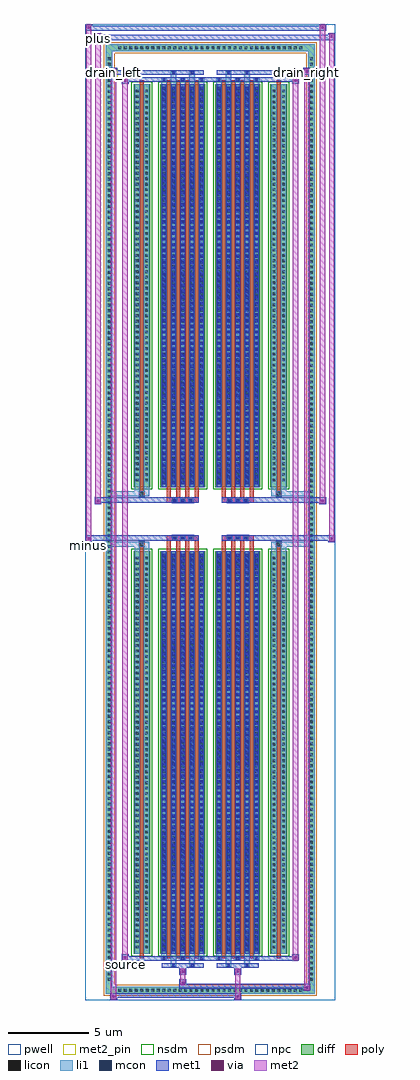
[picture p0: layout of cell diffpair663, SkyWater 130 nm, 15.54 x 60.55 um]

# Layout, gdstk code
import gdstk
lib = gdstk.Library(unit=1e-6, precision=5e-09)
def R(c, l, rs):  # rectangles x0, y0, x1, y1
    for r in rs: c.add(gdstk.rectangle(r[:2], r[2:], *l))
def A(c, l, x, y, w, h, nx, ny, dx, dy):  # array of equal rectangles
    R(c, l, [(x+i*dx, y+j*dy, x+i*dx+w, y+j*dy+h) for i in range(nx) for j in range(ny)])
def P(c, l, *ps):  # polygons
    for p in ps: c.add(gdstk.Polygon(p, *l))
pwell = (64, 44)
diff = (65, 20)
poly = (66, 20)
licon = (66, 44)
li1 = (67, 20)
mcon = (67, 44)
met1 = (68, 20)
via = (68, 44)
met2_pin = (69, 16)
met2 = (69, 20)
nsdm = (93, 44)
psdm = (94, 20)
npc = (95, 20)

diffpair663 = lib.new_cell('diffpair663')
R(diffpair663, pwell, [(-7.75,-29.84,7.75,30.71), (-5.07,-28.03,-0.01,-0.805), (0.01,-28.03,5.07,-0.805), (-5.07,0.805,-0.01,28.03), (0.01,0.805,5.07,28.03)])
A(diffpair663, diff, -5.815, -29.44, 0.41, 0.41, 34, 2, 0.34, 58.47)
A(diffpair663, diff, -6.48, -28.765, 0.41, 0.41, 1, 169, 0, 0.34)
A(diffpair663, diff, 6.07, -28.765, 0.41, 0.41, 1, 169, 0, 0.34)
R(diffpair663, diff, [(-5.815,-29.44,5.815,-29.03), (-6.48,-28.765,-6.07,28.765), (6.07,-28.765,6.48,28.765), (-4.76,-26.985,-3.73,-1.985), (-3.09,-26.985,-0.32,-1.985), (0.32,-26.985,3.09,-1.985), (3.73,-26.985,4.76,-1.985), (-4.76,1.985,-3.73,26.985), (-3.09,1.985,-0.32,26.985), (0.32,1.985,3.09,26.985), (3.73,1.985,4.76,26.985), (-5.815,29.03,5.815,29.44)])
P(diffpair663, diff, [(6.48,29.44),(-6.48,29.44),(-6.48,-29.03),(-6.07,-29.03),(-6.07,29.03),(6.07,29.03),(6.07,-29.03),(-6.07,-29.03),(-6.48,-29.03),(-6.48,-29.44),(6.48,-29.44)])
A(diffpair663, poly, -2.7, -27.235, 0.25, 25.5, 4, 2, 0.58, 28.97)
A(diffpair663, poly, 0.71, -27.235, 0.25, 25.5, 4, 2, 0.58, 28.97)
A(diffpair663, poly, -2.7, -1.735, 0.25, 0.4, 4, 2, 0.58, 3.07)
A(diffpair663, poly, 0.71, -1.735, 0.25, 0.4, 4, 2, 0.58, 3.07)
A(diffpair663, poly, -2.37, -1.335, 0.33, 0.33, 3, 2, 0.5, 2.34)
A(diffpair663, poly, 1.04, -1.335, 0.33, 0.33, 3, 2, 0.5, 2.34)
R(diffpair663, poly, [(-4.37,-27.235,-4.12,-1.735), (4.12,-27.235,4.37,-1.735), (-4.41,-1.735,-4.08,-1.405), (-4.41,-1.735,-4.08,-1.405), (4.08,-1.735,4.41,-1.405), (4.08,-1.735,4.41,-1.405), (-2.7,-1.335,-0.71,-1.005), (0.71,-1.335,2.7,-1.005), (-2.7,1.005,-0.71,1.335), (0.71,1.005,2.7,1.335), (-4.41,1.405,-4.08,1.735), (-4.41,1.405,-4.08,1.735), (4.08,1.405,4.41,1.735), (4.08,1.405,4.41,1.735), (-4.37,1.735,-4.12,27.235), (4.12,1.735,4.37,27.235)])
A(diffpair663, licon, -5.695, -29.32, 0.17, 0.17, 34, 2, 0.34, 58.47)
A(diffpair663, licon, -6.36, -28.645, 0.17, 0.17, 1, 169, 0, 0.34)
A(diffpair663, licon, 6.19, -28.645, 0.17, 0.17, 1, 169, 0, 0.34)
A(diffpair663, licon, -4.62, -26.64, 0.17, 0.17, 1, 72, 0, 0.34)
A(diffpair663, licon, -4.04, -26.64, 0.17, 0.17, 1, 72, 0, 0.34)
A(diffpair663, licon, -2.95, -26.64, 0.17, 0.17, 5, 72, 0.58, 0.34)
A(diffpair663, licon, 0.46, -26.64, 0.17, 0.17, 5, 72, 0.58, 0.34)
A(diffpair663, licon, 3.87, -26.64, 0.17, 0.17, 1, 72, 0, 0.34)
A(diffpair663, licon, 4.45, -26.64, 0.17, 0.17, 1, 72, 0, 0.34)
A(diffpair663, licon, -2.29, -1.255, 0.17, 0.17, 3, 2, 0.5, 2.34)
A(diffpair663, licon, 1.12, -1.255, 0.17, 0.17, 3, 2, 0.5, 2.34)
A(diffpair663, licon, -4.62, 2.33, 0.17, 0.17, 1, 72, 0, 0.34)
A(diffpair663, licon, -4.04, 2.33, 0.17, 0.17, 1, 72, 0, 0.34)
A(diffpair663, licon, -2.95, 2.33, 0.17, 0.17, 5, 72, 0.58, 0.34)
A(diffpair663, licon, 0.46, 2.33, 0.17, 0.17, 5, 72, 0.58, 0.34)
A(diffpair663, licon, 3.87, 2.33, 0.17, 0.17, 1, 72, 0, 0.34)
A(diffpair663, licon, 4.45, 2.33, 0.17, 0.17, 1, 72, 0, 0.34)
R(diffpair663, licon, [(-4.33,-1.655,-4.16,-1.485), (4.16,-1.655,4.33,-1.485), (-4.33,1.485,-4.16,1.655), (4.16,1.485,4.33,1.655)])
A(diffpair663, li1, -5.775, -29.4, 0.33, 0.33, 34, 2, 0.34, 58.47)
A(diffpair663, li1, -6.44, -28.725, 0.33, 0.33, 1, 169, 0, 0.34)
A(diffpair663, li1, 6.11, -28.725, 0.33, 0.33, 1, 169, 0, 0.34)
A(diffpair663, li1, -3.03, -27.36, 0.33, 0.375, 3, 2, 1.16, 54.345)
A(diffpair663, li1, -2.95, -27.36, 0.17, 0.17, 3, 2, 1.16, 54.55)
A(diffpair663, li1, 0.38, -27.36, 0.33, 0.375, 3, 2, 1.16, 54.345)
A(diffpair663, li1, 0.46, -27.36, 0.17, 0.17, 3, 2, 1.16, 54.55)
A(diffpair663, li1, -3.03, -26.985, 0.33, 25, 5, 2, 0.58, 28.97)
A(diffpair663, li1, 0.38, -26.985, 0.33, 25, 5, 2, 0.58, 28.97)
A(diffpair663, li1, -2.95, -26.81, 0.17, 0.17, 5, 69, 0.58, 0.36)
A(diffpair663, li1, -2.95, -26.81, 0.17, 24.65, 5, 2, 0.58, 28.97)
A(diffpair663, li1, 0.46, -26.81, 0.17, 0.17, 5, 69, 0.58, 0.36)
A(diffpair663, li1, 0.46, -26.81, 0.17, 24.65, 5, 2, 0.58, 28.97)
A(diffpair663, li1, -4.7, -26.72, 0.33, 0.33, 1, 72, 0, 0.34)
A(diffpair663, li1, -4.12, -26.72, 0.33, 0.33, 1, 72, 0, 0.34)
A(diffpair663, li1, -3.03, -26.72, 0.33, 0.33, 5, 72, 0.58, 0.34)
A(diffpair663, li1, 0.38, -26.72, 0.33, 0.33, 5, 72, 0.58, 0.34)
A(diffpair663, li1, 3.79, -26.72, 0.33, 0.33, 1, 72, 0, 0.34)
A(diffpair663, li1, 4.37, -26.72, 0.33, 0.33, 1, 72, 0, 0.34)
A(diffpair663, li1, -2.37, -1.335, 0.33, 0.33, 3, 2, 0.5, 2.34)
A(diffpair663, li1, 1.04, -1.335, 0.33, 0.33, 3, 2, 0.5, 2.34)
A(diffpair663, li1, -2.95, 2.16, 0.17, 0.17, 5, 69, 0.58, 0.36)
A(diffpair663, li1, 0.46, 2.16, 0.17, 0.17, 5, 69, 0.58, 0.36)
A(diffpair663, li1, -4.7, 2.25, 0.33, 0.33, 1, 72, 0, 0.34)
A(diffpair663, li1, -4.12, 2.25, 0.33, 0.33, 1, 72, 0, 0.34)
A(diffpair663, li1, -3.03, 2.25, 0.33, 0.33, 5, 72, 0.58, 0.34)
A(diffpair663, li1, 0.38, 2.25, 0.33, 0.33, 5, 72, 0.58, 0.34)
A(diffpair663, li1, 3.79, 2.25, 0.33, 0.33, 1, 72, 0, 0.34)
A(diffpair663, li1, 4.37, 2.25, 0.33, 0.33, 1, 72, 0, 0.34)
R(diffpair663, li1, [(-6.48,-29.44,-6.07,-29.03), (-6.48,-29.44,-6.07,-29.03), (-6.07,-29.44,6.07,-29.03), (6.07,-29.44,6.48,-29.03), (6.07,-29.44,6.48,-29.03), (-6.48,-29.03,-6.07,29.03), (6.07,-29.03,6.48,29.03), (-2.45,-27.79,-2.12,-26.985), (-2.37,-27.79,-2.2,-27.62), (-1.29,-27.79,-0.96,-26.985), (-1.21,-27.79,-1.04,-27.62), (0.96,-27.79,1.29,-26.985), (1.04,-27.79,1.21,-27.62), (2.12,-27.79,2.45,-26.985), (2.2,-27.79,2.37,-27.62), (-4.7,-26.985,-4.37,-1.985), (-4.12,-26.985,-3.79,-1.985), (3.79,-26.985,4.12,-1.985), (4.37,-26.985,4.7,-1.985), (-4.7,-1.985,-4.37,-1.405), (-4.12,-1.985,-3.79,-1.405), (3.79,-1.985,4.12,-1.405), (4.37,-1.985,4.7,-1.405), (-6.48,-1.735,-4.41,-1.405), (-4.7,-1.735,-4.41,-1.405), (-4.41,-1.735,-4.08,-1.405), (-4.08,-1.735,-3.79,-1.405), (3.79,-1.735,4.08,-1.405), (4.08,-1.735,4.41,-1.405), (4.08,-1.735,6.48,-1.405), (4.41,-1.735,4.7,-1.405), (-6.48,1.405,-4.41,1.735), (-4.7,1.405,-4.41,1.735), (-4.7,1.405,-4.37,1.985), (-4.41,1.405,-4.08,1.735), (-4.12,1.405,-3.79,1.985), (-4.08,1.405,-3.79,1.735), (3.79,1.405,4.08,1.735), (3.79,1.405,4.12,1.985), (4.08,1.405,4.41,1.735), (4.08,1.405,6.48,1.735), (4.37,1.405,4.7,1.985), (4.41,1.405,4.7,1.735), (-4.7,1.985,-4.37,26.985), (-4.12,1.985,-3.79,26.985), (3.79,1.985,4.12,26.985), (4.37,1.985,4.7,26.985), (-2.45,26.985,-2.12,27.79), (-1.29,26.985,-0.96,27.79), (0.96,26.985,1.29,27.79), (2.12,26.985,2.45,27.79), (-2.37,27.62,-2.2,27.79), (-1.21,27.62,-1.04,27.79), (1.04,27.62,1.21,27.79), (2.2,27.62,2.37,27.79), (-6.48,29.03,-6.07,29.44), (-6.48,29.03,-6.07,29.44), (-6.07,29.03,6.07,29.44), (6.07,29.03,6.48,29.44), (6.07,29.03,6.48,29.44)])
A(diffpair663, mcon, -2.95, -27.36, 0.17, 0.17, 3, 2, 1.16, 54.55)
A(diffpair663, mcon, 0.46, -27.36, 0.17, 0.17, 3, 2, 1.16, 54.55)
A(diffpair663, mcon, -2.95, -26.81, 0.17, 0.17, 5, 69, 0.58, 0.36)
A(diffpair663, mcon, 0.46, -26.81, 0.17, 0.17, 5, 69, 0.58, 0.36)
A(diffpair663, mcon, -2.29, -1.255, 0.17, 0.17, 3, 2, 0.5, 2.34)
A(diffpair663, mcon, 1.12, -1.255, 0.17, 0.17, 3, 2, 0.5, 2.34)
A(diffpair663, mcon, -2.95, 2.16, 0.17, 0.17, 5, 69, 0.58, 0.36)
A(diffpair663, mcon, 0.46, 2.16, 0.17, 0.17, 5, 69, 0.58, 0.36)
R(diffpair663, mcon, [(-2.37,-27.79,-2.2,-27.62), (-1.21,-27.79,-1.04,-27.62), (1.04,-27.79,1.21,-27.62), (2.2,-27.79,2.37,-27.62), (-2.37,27.62,-2.2,27.79), (-1.21,27.62,-1.04,27.79), (1.04,27.62,1.21,27.79), (2.2,27.62,2.37,27.79)])
A(diffpair663, met1, -3.01, -27.42, 0.29, 0.29, 3, 2, 1.16, 54.55)
A(diffpair663, met1, 0.4, -27.42, 0.29, 0.29, 3, 2, 1.16, 54.55)
A(diffpair663, met1, -3.01, -26.985, 0.29, 25, 5, 2, 0.58, 28.97)
A(diffpair663, met1, 0.4, -26.985, 0.29, 25, 5, 2, 0.58, 28.97)
A(diffpair663, met1, -3.01, -26.87, 0.29, 0.29, 5, 69, 0.58, 0.36)
A(diffpair663, met1, 0.4, -26.87, 0.29, 0.29, 5, 69, 0.58, 0.36)
A(diffpair663, met1, -2.35, -1.315, 0.29, 0.29, 3, 2, 0.5, 2.34)
A(diffpair663, met1, 1.06, -1.315, 0.29, 0.29, 3, 2, 0.5, 2.34)
A(diffpair663, met1, -3.01, 2.1, 0.29, 0.29, 5, 69, 0.58, 0.36)
A(diffpair663, met1, 0.4, 2.1, 0.29, 0.29, 5, 69, 0.58, 0.36)
R(diffpair663, met1, [(-6.21,-29.84,-5.78,-29.41), (1.49,-29.84,1.92,-29.41), (-6.21,-29.7,1.92,-29.41), (5.78,-29.27,6.21,-28.84), (-1.92,-29.13,6.21,-28.84), (-1.92,-28.99,-1.49,-28.56), (-1.92,-28.28,-1.49,-27.85), (1.49,-28.28,1.92,-27.85), (-3.01,-27.85,-0.4,-27.56), (-2.43,-27.85,-2.14,-27.56), (-1.27,-27.85,-0.98,-27.56), (0.4,-27.85,3.01,-27.56), (0.98,-27.85,1.27,-27.56), (2.14,-27.85,2.43,-27.56), (-5.5,-27.42,-5.07,-26.99), (-5.5,-27.42,-3.01,-27.13), (-3.01,-27.42,-0.4,-27.13), (-0.4,-27.42,0.4,-27.13), (0.4,-27.42,3.01,-27.13), (3.01,-27.42,5.5,-27.13), (5.07,-27.42,5.5,-26.99), (-7.75,-1.435,-7.32,-1.005), (7.32,-1.435,7.75,-1.005), (-7.75,-1.335,-0.71,-1.005), (-2.7,-1.335,-0.71,-1.005), (0.71,-1.335,2.7,-1.005), (0.71,-1.335,7.75,-1.005), (-7.18,0.905,-6.75,1.335), (6.75,0.905,7.18,1.335), (-7.18,1.005,-2.7,1.335), (-2.7,1.005,-0.71,1.335), (0.71,1.005,2.7,1.335), (2.7,1.005,7.18,1.335), (-5.5,26.99,-5.07,27.42), (5.07,26.99,5.5,27.42), (-5.5,27.13,-3.01,27.42), (-3.01,27.13,-0.4,27.42), (-0.4,27.13,0.4,27.42), (0.4,27.13,3.01,27.42), (3.01,27.13,5.5,27.42), (-6.21,27.56,-5.78,27.99), (-6.21,27.56,-3.01,27.85), (-3.01,27.56,-0.4,27.85), (-2.43,27.56,-2.14,27.85), (-1.27,27.56,-0.98,27.85), (0.4,27.56,3.01,27.85), (0.98,27.56,1.27,27.85), (2.14,27.56,2.43,27.85), (3.01,27.56,6.21,27.85), (5.78,27.56,6.21,27.99), (-7.18,29.71,-6.75,30.14), (-7.18,29.71,-5.07,30.04), (-5.07,29.71,5.07,30.04), (5.07,29.71,7.75,30.04), (7.32,29.71,7.75,30.14), (-7.75,30.28,-7.32,30.71), (-7.75,30.28,-5.07,30.61), (-5.07,30.28,5.07,30.61), (5.07,30.28,7.18,30.61), (6.75,30.28,7.18,30.71)])
R(diffpair663, via, [(-6.07,-29.7,-5.92,-29.55), (1.63,-29.7,1.78,-29.55), (5.92,-29.13,6.07,-28.98), (-1.78,-28.85,-1.63,-28.7), (-1.78,-28.14,-1.63,-27.99), (1.63,-28.14,1.78,-27.99), (-5.36,-27.28,-5.21,-27.13), (5.21,-27.28,5.36,-27.13), (-7.61,-1.295,-7.46,-1.145), (7.46,-1.295,7.61,-1.145), (-7.04,1.045,-6.89,1.195), (6.89,1.045,7.04,1.195), (-5.36,27.13,-5.21,27.28), (5.21,27.13,5.36,27.28), (-6.07,27.7,-5.92,27.85), (5.92,27.7,6.07,27.85), (-7.04,29.85,-6.89,30), (7.46,29.85,7.61,30), (-7.61,30.42,-7.46,30.57), (6.89,30.42,7.04,30.57)])
R(diffpair663, met2_pin, [(-5.535,-27.87,-5.035,-27.37), (-7.785,-1.885,-7.285,-1.385), (-6.245,27.44,-5.745,27.94), (5.745,27.44,6.245,27.94), (-7.215,29.59,-6.715,30.09)])
R(diffpair663, met2, [(-6.16,-29.79,-5.83,-29.46), (-6.16,-29.79,-5.83,27.94), (1.54,-29.79,1.87,-29.46), (1.54,-29.46,1.87,-28.23), (5.83,-29.22,6.16,-28.89), (5.83,-29.22,6.16,27.94), (-1.87,-28.94,-1.54,-28.61), (-1.87,-28.61,-1.54,-28.23), (-1.87,-28.23,-1.54,-27.9), (1.54,-28.23,1.87,-27.9), (-5.45,-27.37,-5.12,-27.04), (-5.45,-27.37,-5.12,27.37), (5.12,-27.37,5.45,-27.04), (5.12,-27.37,5.45,27.37), (-7.7,-1.385,-7.37,-1.055), (-7.7,-1.385,-7.37,30.66), (7.37,-1.385,7.7,-1.055), (7.37,-1.385,7.7,30.09), (-7.13,0.955,-6.8,1.285), (-7.13,0.955,-6.8,30.09), (6.8,0.955,7.13,1.285), (6.8,0.955,7.13,30.66), (-5.45,27.04,-5.12,27.37), (5.12,27.04,5.45,27.37), (-6.16,27.61,-5.83,27.94), (5.83,27.61,6.16,27.94), (-7.13,29.76,-6.8,30.09), (7.37,29.76,7.7,30.09), (-7.7,30.33,-7.37,30.66), (6.8,30.33,7.13,30.66)])
P(diffpair663, met2, [(7.7,-1.385),(7.7,-1.385),(7.7,-1.055),(7.7,-1.055)],
  [(7.7,29.76),(7.7,29.76),(7.7,30.09),(7.7,30.09)],
  [(-7.37,-1.385),(-7.37,-1.385),(-7.37,-1.055),(-7.37,-1.055)],
  [(-7.37,30.33),(-7.37,30.33),(-7.37,30.66),(-7.37,30.66)],
  [(7.13,0.955),(7.13,0.955),(7.13,1.285),(7.13,1.285)],
  [(7.13,30.33),(7.13,30.33),(7.13,30.66),(7.13,30.66)],
  [(-6.8,0.955),(-6.8,0.955),(-6.8,1.285),(-6.8,1.285)],
  [(-6.8,29.76),(-6.8,29.76),(-6.8,30.09),(-6.8,30.09)],
  [(-5.83,-29.79),(-5.83,-29.79),(-5.83,-29.46),(-5.83,-29.46)],
  [(-5.83,27.61),(-5.83,27.61),(-5.83,27.94),(-5.83,27.94)],
  [(6.16,-29.22),(6.16,-29.22),(6.16,-28.89),(6.16,-28.89)],
  [(6.16,27.61),(6.16,27.61),(6.16,27.94),(6.16,27.94)],
  [(-5.12,-27.37),(-5.12,-27.37),(-5.12,-27.04),(-5.12,-27.04)],
  [(-5.12,27.04),(-5.12,27.04),(-5.12,27.37),(-5.12,27.37)],
  [(5.45,-27.37),(5.45,-27.37),(5.45,-27.04),(5.45,-27.04)],
  [(5.45,27.04),(5.45,27.04),(5.45,27.37),(5.45,27.37)])
R(diffpair663, nsdm, [(-4.89,-27.115,-3.6,-1.855), (-3.22,-27.115,-0.19,-1.855), (0.19,-27.115,3.22,-1.855), (3.6,-27.115,4.89,-1.855), (-4.89,1.855,-3.6,27.115), (-3.22,1.855,-0.19,27.115), (0.19,1.855,3.22,27.115), (3.6,1.855,4.89,27.115)])
P(diffpair663, psdm, [(6.61,29.57),(-6.61,29.57),(-6.61,-28.9),(-5.94,-28.9),(-5.94,28.9),(5.94,28.9),(5.94,-28.9),(-5.94,-28.9),(-6.61,-28.9),(-6.61,-29.57),(6.61,-29.57)])
A(diffpair663, npc, -2.39, -1.355, 0.37, 0.37, 3, 2, 0.5, 2.34)
A(diffpair663, npc, 1.02, -1.355, 0.37, 0.37, 3, 2, 0.5, 2.34)
R(diffpair663, npc, [(-4.43,-1.755,-4.06,-1.385), (4.06,-1.755,4.43,-1.385), (-2.39,-1.355,-1.52,-0.985), (-2.39,-1.355,-1.52,-0.985), (-1.89,-1.355,-1.02,-0.985), (-1.89,-1.355,-1.02,-0.985), (1.02,-1.355,1.89,-0.985), (1.02,-1.355,1.89,-0.985), (1.52,-1.355,2.39,-0.985), (1.52,-1.355,2.39,-0.985), (-2.39,0.985,-1.52,1.355), (-2.39,0.985,-1.52,1.355), (-1.89,0.985,-1.02,1.355), (-1.89,0.985,-1.02,1.355), (1.02,0.985,1.89,1.355), (1.02,0.985,1.89,1.355), (1.52,0.985,2.39,1.355), (1.52,0.985,2.39,1.355), (-4.43,1.385,-4.06,1.755), (4.06,1.385,4.43,1.755)])
diffpair663.add(gdstk.Label('minus', (-7.535,-1.635), layer=69, texttype=5))
diffpair663.add(gdstk.Label('drain_right', (5.995,27.69), layer=69, texttype=5))
diffpair663.add(gdstk.Label('drain_left', (-5.995,27.69), layer=69, texttype=5))
diffpair663.add(gdstk.Label('source', (-5.285,-27.62), layer=69, texttype=5))
diffpair663.add(gdstk.Label('plus', (-6.965,29.84), layer=69, texttype=5))

lib.write_gds('diffpair663.gds')
